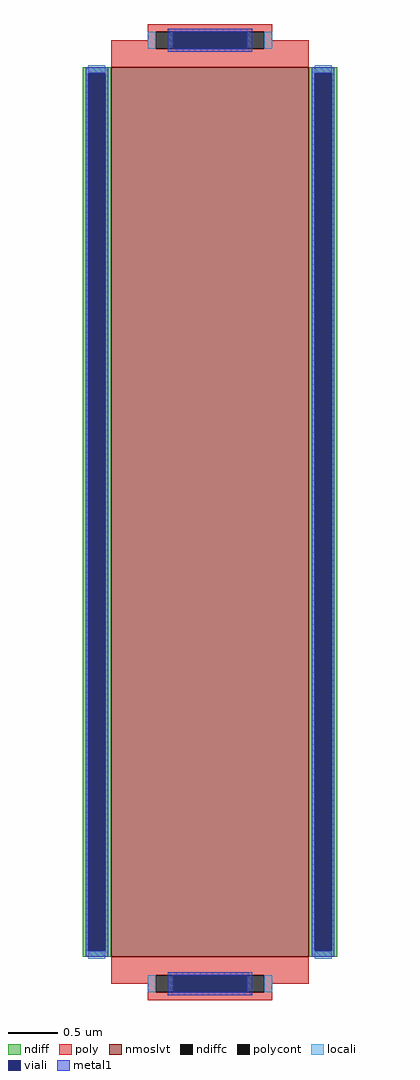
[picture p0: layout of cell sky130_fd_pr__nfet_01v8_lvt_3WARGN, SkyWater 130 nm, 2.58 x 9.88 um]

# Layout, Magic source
magic
tech sky130A
magscale 1 2
<< nmoslvt >>
rect -200 -900 200 900
<< ndiff >>
rect -258 888 -200 900
rect -258 -888 -246 888
rect -212 -888 -200 888
rect -258 -900 -200 -888
rect 200 888 258 900
rect 200 -888 212 888
rect 246 -888 258 888
rect 200 -900 258 -888
<< ndiffc >>
rect -246 -888 -212 888
rect 212 -888 246 888
<< poly >>
rect -126 972 126 988
rect -126 955 -110 972
rect -200 938 -110 955
rect 110 955 126 972
rect 110 938 200 955
rect -200 900 200 938
rect -200 -938 200 -900
rect -200 -955 -110 -938
rect -126 -972 -110 -955
rect 110 -955 200 -938
rect 110 -972 126 -955
rect -126 -988 126 -972
<< polycont >>
rect -110 938 110 972
rect -110 -972 110 -938
<< locali >>
rect -126 938 -110 972
rect 110 938 126 972
rect -246 888 -212 904
rect -246 -904 -212 -888
rect 212 888 246 904
rect 212 -904 246 -888
rect -126 -972 -110 -938
rect 110 -972 126 -938
<< viali >>
rect -74 938 74 972
rect -246 -888 -212 888
rect 212 -888 246 888
rect -74 -972 74 -938
<< metal1 >>
rect -86 972 86 978
rect -86 938 -74 972
rect 74 938 86 972
rect -86 932 86 938
rect -252 888 -206 900
rect -252 -888 -246 888
rect -212 -888 -206 888
rect -252 -900 -206 -888
rect 206 888 252 900
rect 206 -888 212 888
rect 246 -888 252 888
rect 206 -900 252 -888
rect -86 -938 86 -932
rect -86 -972 -74 -938
rect 74 -972 86 -938
rect -86 -978 86 -972
<< properties >>
string gencell sky130_fd_pr__nfet_01v8_lvt
string library sky130
string parameters w 9 l 2 m 1 nf 1 diffcov 100 polycov 60 guard 0 glc 1 grc 1 gtc 1 gbc 1 tbcov 100 rlcov 100 topc 1 botc 1 poverlap 0 doverlap 1 lmin 0.15 wmin 0.42 compatible {sky130_fd_pr__nfet_01v8 sky130_fd_pr__nfet_01v8_lvt  sky130_fd_bs_flash__special_sonosfet_star  sky130_fd_pr__nfet_g5v0d10v5 sky130_fd_pr__nfet_05v0_nvt  sky130_fd_pr__nfet_03v3_nvt} full_metal 1 viasrc 100 viadrn 100 viagate 40 viagb 0 viagr 0 viagl 0 viagt 0
<< end >>
